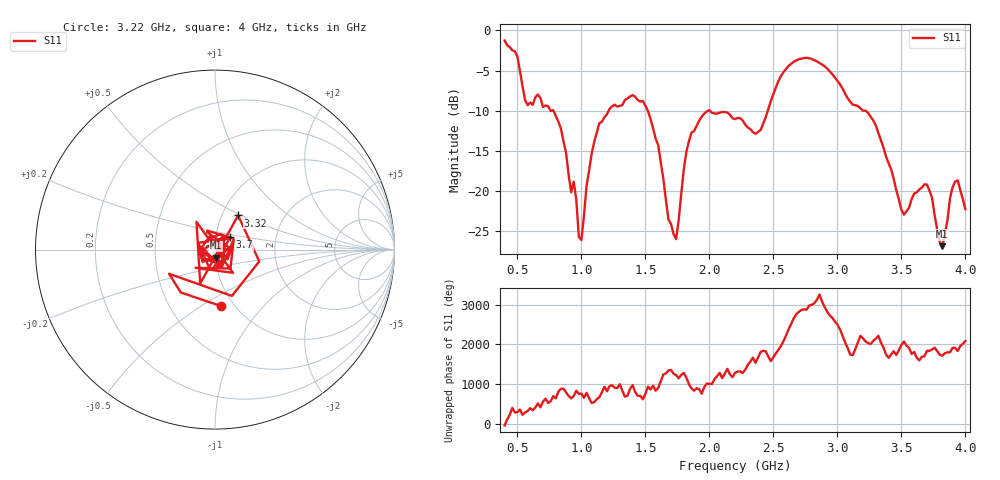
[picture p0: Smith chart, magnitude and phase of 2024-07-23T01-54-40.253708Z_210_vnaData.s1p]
!Created with skrf (http://scikit-rf.org).
# Hz S RI R 50.0
!freq ReS11 ImS11
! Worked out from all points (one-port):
!   181 points, 400 MHz to 4 GHz, reference 50 ohm
!   lowest |S11| = -26.9 dB at 3.82 GHz (marker M1), VSWR 1.09, Z = 50.3 - j4.52 ohm
!   |S11| at or under -10 dB: 1.518 GHz to 1.993 GHz (475.2 MHz wide, 27.1 % of centre); 2.003 GHz to 2.456 GHz (453.3 MHz wide, 20.3 % of centre); 3.199 GHz to end of sweep (the widest 3 of 5)
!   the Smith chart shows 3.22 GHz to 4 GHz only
!   S11 on the Smith chart (normalised r, x): 3.22 GHz: 0.87, -0.61; 3.32 GHz: 1.19, +0.48; 3.7 GHz: 1.17, +0.16; 4 GHz: 1.03, -0.15
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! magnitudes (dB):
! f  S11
! 400 MHz  -1.3
! 500 MHz  -3.3
! 580 MHz  -9.3
! 660 MHz  -8.0
! 860 MHz  -13.8
! 1 GHz  -26.2
! 1.04 GHz  -19.4
! 1.14 GHz  -11.6
! 1.3 GHz  -9.4
! 1.5 GHz  -9.4
! 1.6 GHz  -14.3
! 1.68 GHz  -23.6
! 1.74 GHz  -26.0
! 1.76 GHz  -23.7
! 1.86 GHz  -12.7
! 2.2 GHz  -11.1
! 2.4 GHz  -12.4
! 2.66 GHz  -3.9
! 2.9 GHz  -4.5
! 3.1 GHz  -8.9
! 3.22 GHz  -10.0
! 3.32 GHz  -12.8
! 3.5 GHz  -22.4
! 3.56 GHz  -22.1
! 3.7 GHz  -19.2
! 3.82 GHz  -26.9
! 3.92 GHz  -18.9
! 4 GHz  -22.3
